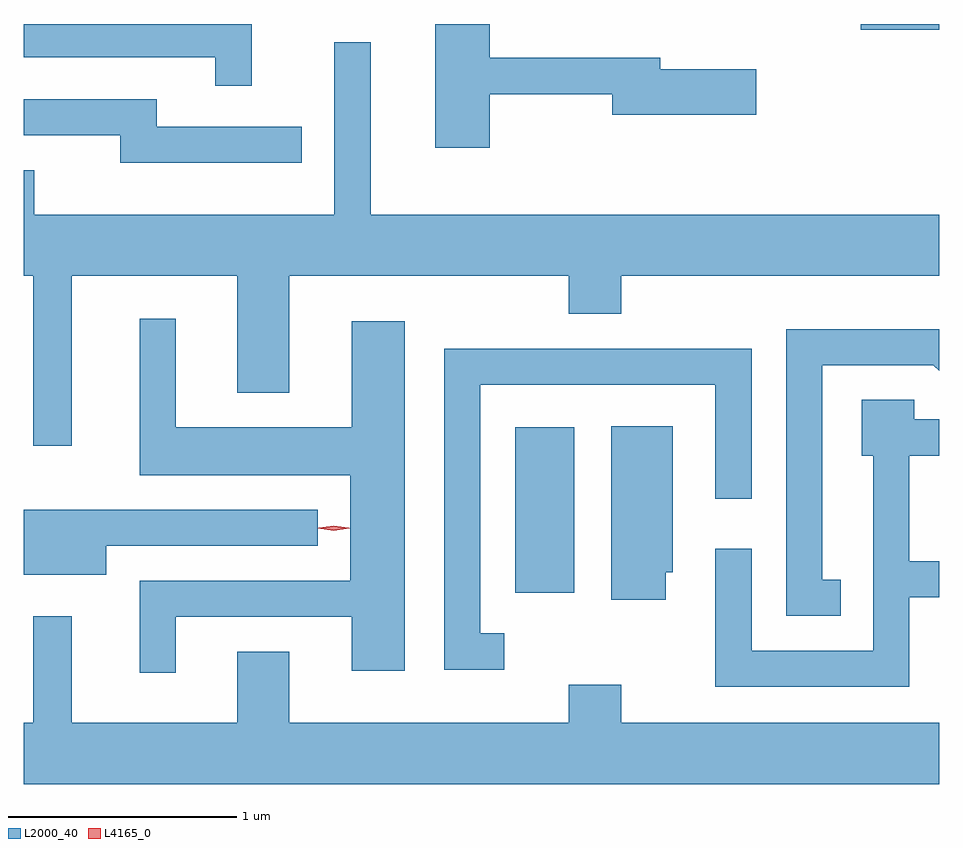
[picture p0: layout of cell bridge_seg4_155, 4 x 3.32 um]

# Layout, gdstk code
import gdstk
lib = gdstk.Library(unit=1e-6, precision=1e-09)
def R(c, l, rs):  # rectangles x0, y0, x1, y1
    for r in rs: c.add(gdstk.rectangle(r[:2], r[2:], *l))
def P(c, l, *ps):  # polygons
    for p in ps: c.add(gdstk.Polygon(p, *l))
L2000_40 = (2000, 40)
L4165_0 = (4165, 0)

bridge_seg4_155 = lib.new_cell('bridge_seg4_155')
R(bridge_seg4_155, L2000_40, [(781.336,1295.571,781.594,1296.294), (782.846,1298.031,783.189,1298.057)])
P(bridge_seg4_155, L2000_40, [(780.184,1298.057),(779.189,1298.057),(779.189,1297.911),(780.026,1297.911),(780.026,1297.788),(780.184,1297.788)],
  [(781.224,1297.751),(781.761,1297.751),(781.761,1297.661),(782.389,1297.661),(782.389,1297.859),(781.969,1297.859),(781.969,1297.909),(781.224,1297.909),(781.224,1298.057),(780.986,1298.057),(780.986,1297.516),(781.224,1297.516)],
  [(779.399,1296.956),(780.121,1296.956),(780.121,1296.446),(780.349,1296.446),(780.349,1296.956),(781.571,1296.956),(781.571,1296.791),(781.799,1296.791),(781.799,1296.956),(783.189,1296.956),(783.189,1297.224),(780.704,1297.224),(780.704,1297.978),(780.546,1297.978),(780.546,1297.224),(779.234,1297.224),(779.234,1297.419),(779.189,1297.419),(779.189,1296.956),(779.231,1296.956),(779.231,1296.213),(779.399,1296.213)],
  [(780.403,1297.609),(779.769,1297.609),(779.769,1297.729),(779.189,1297.729),(779.189,1297.571),(779.611,1297.571),(779.611,1297.451),(780.403,1297.451)],
  [(779.854,1295.466),(780.621,1295.466),(780.621,1295.231),(780.854,1295.231),(780.854,1296.759),(780.621,1296.759),(780.621,1296.294),(779.854,1296.294),(779.854,1296.768),(779.696,1296.768),(779.696,1296.086),(780.616,1296.086),(780.616,1295.624),(779.696,1295.624),(779.696,1295.223),(779.854,1295.223)],
  [(782.758,1295.629),(782.679,1295.629),(782.679,1296.566),(783.164,1296.566),(783.189,1296.541),(783.189,1296.724),(782.521,1296.724),(782.521,1295.471),(782.758,1295.471)],
  [(781.288,1295.394),(781.184,1295.394),(781.184,1296.481),(782.211,1296.481),(782.211,1295.983),(782.369,1295.983),(782.369,1296.639),(781.026,1296.639),(781.026,1295.236),(781.288,1295.236)],
  [(783.059,1295.551),(783.189,1295.551),(783.189,1295.709),(783.059,1295.709),(783.059,1296.171),(783.189,1296.171),(783.189,1296.329),(783.079,1296.329),(783.079,1296.414),(782.851,1296.414),(782.851,1296.171),(782.901,1296.171),(782.901,1295.319),(782.369,1295.319),(782.369,1295.763),(782.211,1295.763),(782.211,1295.161),(783.059,1295.161)],
  [(781.994,1295.661),(782.024,1295.661),(782.024,1296.299),(781.756,1296.299),(781.756,1295.541),(781.994,1295.541)],
  [(779.549,1295.776),(780.473,1295.776),(780.473,1295.934),(779.189,1295.934),(779.189,1295.651),(779.549,1295.651)],
  [(783.189,1295.004),(781.799,1295.004),(781.799,1295.169),(781.571,1295.169),(781.571,1295.004),(780.349,1295.004),(780.349,1295.314),(780.121,1295.314),(780.121,1295.004),(779.399,1295.004),(779.399,1295.468),(779.231,1295.468),(779.231,1295.004),(779.189,1295.004),(779.189,1294.736),(783.189,1294.736)])
P(bridge_seg4_155, L4165_0, [(780.543,1295.843),(780.474,1295.853),(780.474,1295.853),(780.474,1295.854),(780.543,1295.863),(780.612,1295.854),(780.613,1295.853),(780.612,1295.853)],
  [(780.544,1295.845),(780.478,1295.854),(780.477,1295.855),(780.478,1295.856),(780.544,1295.865),(780.609,1295.856),(780.61,1295.855),(780.609,1295.854)])

lib.write_gds('bridge_seg4_155.gds')
